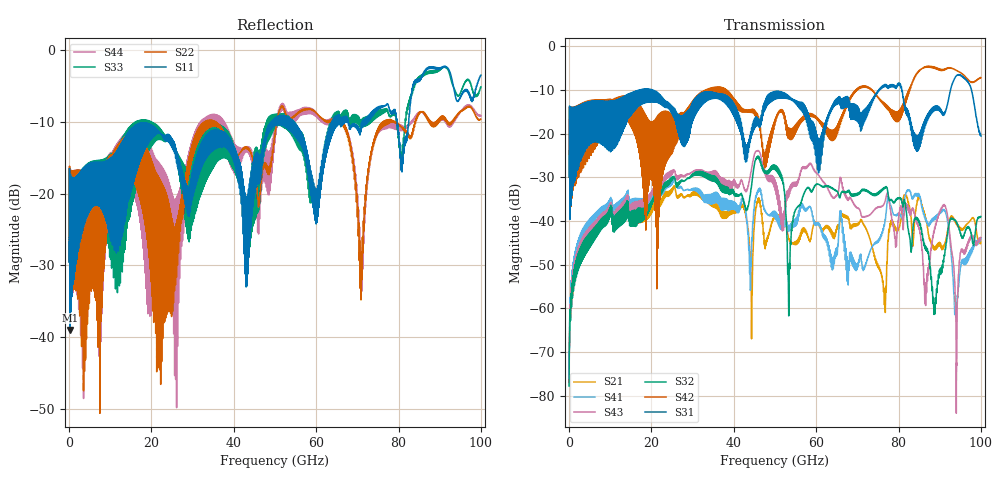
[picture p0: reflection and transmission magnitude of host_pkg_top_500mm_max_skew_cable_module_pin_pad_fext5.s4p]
# Hz S RI R 50
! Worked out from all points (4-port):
!   10000 points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, 10 MHz to 100 GHz, reference 50 ohm
!   strongest paths, dB at 10 MHz, 25.01 GHz, 50.01 GHz, 75.01 GHz, 100 GHz:
!     S31: -29.9, -14.9, -10.3, -10.1, -20.5
!     S42: -29.9, -15.8, -16.8, -11.6, -7.2
!     S32: -77.8, -30.3, -28.1, -33.8, -38.9
!     S43: -77.0, -28.7, -31.8, -36.8, -43.7
!     S41: -75.9, -31.2, -37.8, -44.4, -43.9
!     S21: -77.0, -33.1, -39.0, -50.6, -44.8
!   lowest |S11| = -39.0 dB at 230 MHz (marker M1), VSWR 1.02, Z = 51.1 + j0.233 ohm
!   |S11| at or under -10 dB: start of sweep to 49.19 GHz; 54.42 GHz to 63.93 GHz (9.506 GHz wide, 16.1 % of centre); 67.79 GHz to 71.19 GHz (3.394 GHz wide, 4.88 % of centre)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
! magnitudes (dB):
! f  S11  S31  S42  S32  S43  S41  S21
! 10 MHz  -29.5  -29.9  -29.9  -77.8  -77.0  -75.9  -77.0
! 230 MHz  -39.0  -39.6  -38.8  -60.4  -59.2  -57.7  -59.3
! 9.87 GHz  -22.6  -17.8  -15.7  -36.9  -36.0  -34.9  -36.5
! 45.71 GHz  -14.6  -16.3  -15.6  -25.6  -23.9  -33.7  -36.0
! 53.38 GHz  -10.4  -11.4  -20.2  -57.3  -33.2  -41.1  -44.0
! 71.09 GHz  -10.8  -16.9  -9.3  -32.8  -39.0  -49.5  -40.0
! 100 GHz  -3.5  -20.5  -7.2  -38.9  -43.7  -43.9  -44.8
